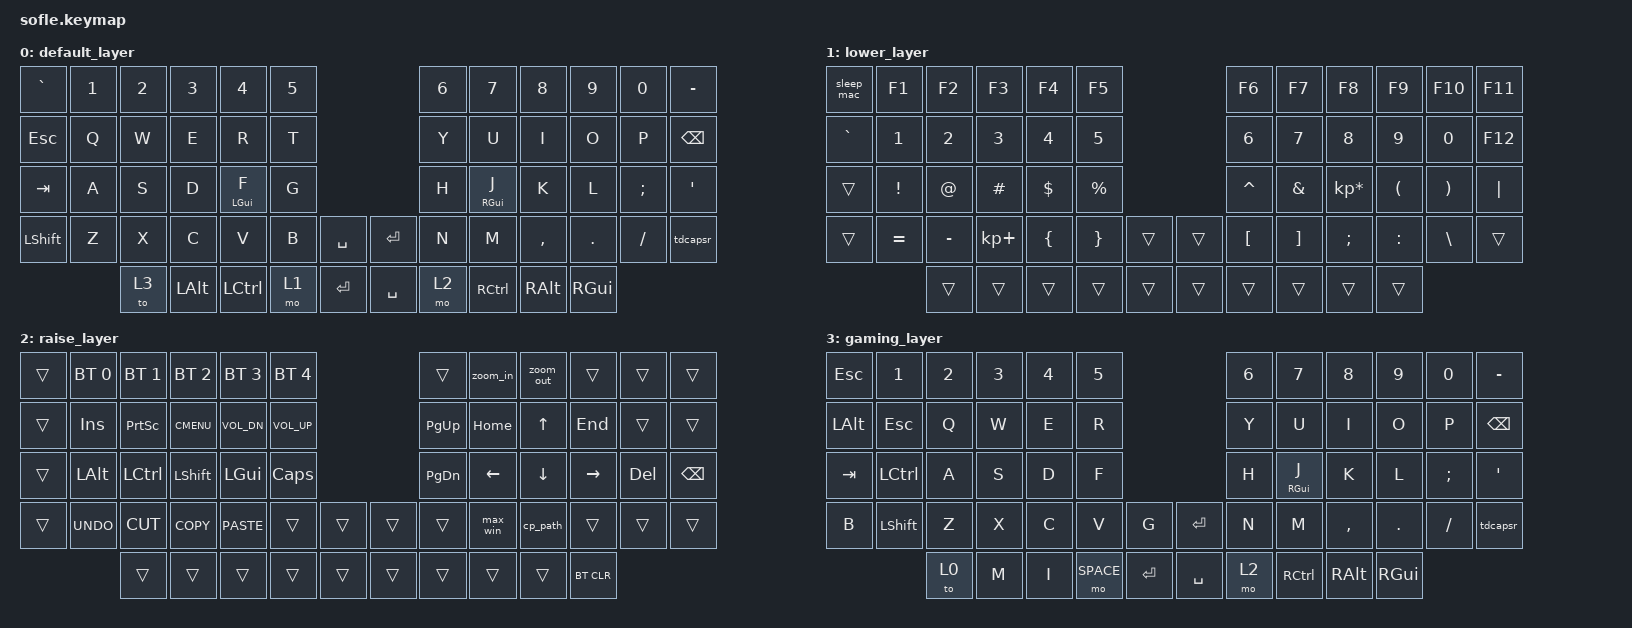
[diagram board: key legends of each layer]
/*
 * Copyright (c) 2020 The ZMK Contributors
 *
 * SPDX-License-Identifier: MIT
 */

#include <behaviors.dtsi>
#include <dt-bindings/zmk/keys.h>
#include <dt-bindings/zmk/bt.h>

/ {

    macros {
        sleep_mac: sleep_mac {
            label = "sleep_mac";
            compatible = "zmk,behavior-macro";
            #binding-cells = <0>;
            bindings
                = <&macro_press &kp LALT &kp LGUI &kp C_EJECT>
                , <&macro_release &kp LALT &kp LGUI &kp C_EJECT>
                ;
        };

        max_win: max_win {
            label = "max_win";
            compatible = "zmk,behavior-macro";
            #binding-cells = <0>;
            bindings
                = <&macro_press &kp LCTRL &kp LALT &kp LGUI &kp EQUAL>
                , <&macro_release &kp LCTRL &kp LALT &kp LGUI &kp EQUAL>
                ;
        };

        zoom_in: zoom_in {
            label = "zoom_in";
            compatible = "zmk,behavior-macro";
            #binding-cells = <0>;
            bindings
                = <&macro_press &kp LCTRL>
                , <&macro_tap &kp KP_PLUS>
                , <&macro_release &kp LCTRL>
                ;
        };

       zoom_out: zoom_out {
            label = "zoom_out";
            compatible = "zmk,behavior-macro";
            #binding-cells = <0>;
            bindings
                = <&macro_press &kp LCTRL>
                , <&macro_tap &kp MINUS>
                , <&macro_release &kp LCTRL>
                ;
        };

        cp_path: cp_path {
            label = "cp_path";
            compatible = "zmk,behavior-macro";
            #binding-cells = <0>;
            bindings
                = <&macro_press &kp LGUI &kp K>
                , <&macro_release &kp LGUI &kp K>
                , <&macro_press &kp LSHFT &kp LALT &kp LGUI &kp C>
                , <&macro_release &kp LSHFT &kp LALT &kp LGUI &kp C>
                ;
        };
    };

    behaviors {
        hm: homerow_mods {
            compatible = "zmk,behavior-hold-tap";
            label = "HOMEROW_MODS";
            #binding-cells = <2>;
            tapping-term-ms = <200>;
            quick-tap-ms = <0>;
            flavor = "tap-preferred";
            bindings = <&kp>, <&kp>;
        };

        tdcapsl: tap_dance_caps_l {
            compatible = "zmk,behavior-tap-dance";
            label = "TAP_DANCE_CAPS_L";
            #binding-cells = <0>;
            tapping-term-ms = <200>;
            bindings = <&kp LSHFT>, <&kp CAPS>;
        };

        tdcapsr: tap_dance_caps_r {
            compatible = "zmk,behavior-tap-dance";
            label = "TAP_DANCE_CAPS_R";
            #binding-cells = <0>;
            tapping-term-ms = <200>;
            bindings = <&kp RSHFT>, <&kp CAPS>;
        };
    };

    keymap {
        compatible = "zmk,keymap";

        default_layer {
// ------------------------------------------------------------------------------------------------------------
// |  `     |  1  |  2  |  3   |  4   |  5   |                   |  6   |  7    |  8    |  9   |   0   |     -     |
// |  ESC   |  Q  |  W  |  E   |  R   |  T   |                   |  Y   |  U    |  I    |  O   |   P   |   BKSPC   |
// |  TAB   |  A  |  S  |  D   |F CMD |  G   |                   |  H   | J CMD |  K    |  L   |   ;   |     '     |
// |  SHFT  |  Z  |  X  |  C   |  V   |  B   |  SPACE |  | ENTER |  N   |  M    |  ,    |  .   |   /   | SHFT/CAPS |
//                   | GME | ALT  | CTRL | LOWER|  ENTER |  | SPACE | RAISE| CTRL  | ALT   | GUI  |
            bindings = <
   &kp GRAVE  &kp N1     &kp N2      &kp N3       &kp N4      &kp N5                              &kp N6    &kp N7     &kp N8     &kp N9      &kp N0      &kp MINUS
   &kp ESC    &kp Q      &kp W       &kp E        &kp R       &kp T                               &kp Y     &kp U      &kp I      &kp O       &kp P       &kp BSPC
   &kp TAB    &kp A      &kp S       &kp D        &hm LGUI F  &kp G                               &kp H     &hm RGUI J &kp K      &kp L       &kp SEMI    &kp SQT
   &kp LSHFT   &kp Z      &kp X       &kp C        &kp V       &kp B    &kp SPACE     &kp RET      &kp N     &kp M      &kp COMMA  &kp DOT     &kp FSLH    &tdcapsr
                         &to 3       &kp LALT     &kp LCTRL   &mo 1    &kp RET       &kp SPACE    &mo 2     &kp RCTRL  &kp RALT   &kp RGUI
            >;

            // sensor-bindings = <&inc_dec_kp C_VOL_UP C_VOL_DN &inc_dec_kp PG_UP PG_DN>;
        };

        lower_layer {
// TODO: Some binds are waiting for shifted keycode support.
// ------------------------------------------------------------------------------------------------------------
// | SLEEP |  F1 |  F2 |  F3  |  F4  |  F5  |                   |  F6  |  F7   |  F8   |  F9  |  F10  |  F11  |
// | `     |   1 |   2 |   3  |   4  |   5  |                   |   6  |   7   |   8   |   9  |    0  |  F12  |
// |       |  !  |  @  |  #   |  $   |  %   |                   |  ^   |  &    |  *    |  (   |   )   |   |   |
// |       |  =  |  -  |  +   |  {   |  }   |        |  |       |  [   |  ]    |  ;    |  :   |   \   |       |
//               |     |      |      |      |        |  |       |      |       |       |      |
            bindings = <
&sleep_mac &kp F1    &kp F2    &kp F3      &kp F4    &kp F5                    &kp F6    &kp F7   &kp F8          &kp F9    &kp F10   &kp F11
&kp GRAVE  &kp N1    &kp N2    &kp N3      &kp N4    &kp N5                    &kp N6    &kp N7   &kp N8          &kp N9    &kp N0    &kp F12
&trans     &kp EXCL  &kp AT    &kp HASH    &kp DLLR  &kp PRCNT                 &kp CARET &kp AMPS &kp KP_MULTIPLY &kp LPAR  &kp RPAR  &kp PIPE
&trans     &kp EQUAL &kp MINUS &kp KP_PLUS &kp LBRC  &kp RBRC  &trans   &trans &kp LBKT  &kp RBKT &kp SEMI        &kp COLON &kp BSLH  &trans
                     &trans    &trans      &trans    &trans    &trans   &trans &trans    &trans   &trans          &trans
            >;

//            sensor-bindings = <&inc_dec_kp C_VOL_UP C_VOL_DN &inc_dec_kp PG_UP PG_DN>;
        };

        raise_layer {
// ------------------------------------------------------------------------------------------------------------
// |     | BT1  | BT2  |  BT3  |  BT4   |  BT5   |                |      | ZOOMIN | ZOOMOUT  |       |       |       |
// |     | INS  | PSCR | GUI   | VOL_DN | VOL_UP |                | PGUP | HOME   |    ^     | END   |       |       |
// |     | ALT  | CTRL | SHIFT | GUI    |  CAPS  |                | PGDN |   <-   |    v     |  ->   |  DEL  | BKSPC |
// |     | UNDO | CUT  | COPY  | PASTE  |        |      |  |      |      | MAXWIN |  CPPATH  |       |       |       |
//              |      |       |        |        |      |  |      |      |        |          | BTCLR |
            bindings = <
&trans   &bt BT_SEL 0 &bt BT_SEL 1 &bt BT_SEL 2 &bt BT_SEL 3   &bt BT_SEL 4             &trans    &zoom_in   &zoom_out  &trans    &trans  &trans
&trans   &kp INS      &kp PSCRN    &kp K_CMENU  &kp C_VOL_DN   &kp C_VOL_UP             &kp PG_UP &kp HOME   &kp UP     &kp END   &trans  &trans
&trans   &kp LALT     &kp LCTRL    &kp LSHFT    &kp LGUI       &kp CLCK                 &kp PG_DN &kp LEFT   &kp DOWN   &kp RIGHT &kp DEL &kp BSPC
&trans   &kp K_UNDO   &kp K_CUT    &kp K_COPY   &kp K_PASTE    &trans  &trans   &trans  &trans    &max_win   &cp_path   &trans    &trans  &trans
                      &trans       &trans       &trans         &trans  &trans   &trans  &trans    &trans     &trans     &bt BT_CLR
            >;

//            sensor-bindings = <&inc_dec_kp C_VOL_UP C_VOL_DN &inc_dec_kp PG_UP PG_DN>;
        };

        gaming_layer {
// ------------------------------------------------------------------------------------------------------------
// | ESC |  1      |   2   |  3  |  4   |   5   |                  |  6   |  7    |  8    |  9   |   0   |     -     |
// | ALT |  ESC    |   Q   |  W  |  E   |   R   |                  |  Y   |  U    |  I    |  O   |   P   |   BKSPC   |
// | TAB |  LCTRL  |   A   |  S  |  D   |   F   |                  |  H   | J CMD |  K    |  L   |   ;   |     '     |
// |  B  |  SHFT   |   Z   |  X  |  C   |   V   |   G   |  | ENTER |  N   |  M    |  ,    |  .   |   /   | SHFT/CAPS |
//                 | DFALT | ALT |  I   | SPACE | ENTER |  | SPACE | RAISE| CTRL  | ALT   | GUI  |
            bindings = <
   &kp ESC  &kp N1     &kp N2    &kp N3   &kp N4    &kp N5                              &kp N6    &kp N7     &kp N8     &kp N9      &kp N0      &kp MINUS
   &kp LALT &kp ESC    &kp Q     &kp W    &kp E     &kp R                               &kp Y     &kp U      &kp I      &kp O       &kp P       &kp BSPC
   &kp TAB  &kp LCTRL  &kp A     &kp S    &kp D     &kp F                               &kp H     &hm RGUI J &kp K      &kp L       &kp SEMI    &kp SQT
   &kp B    &kp LSHFT  &kp Z     &kp X    &kp C     &kp V      &kp G       &kp RET      &kp N     &kp M      &kp COMMA  &kp DOT     &kp FSLH    &tdcapsr
                       &to 0     &kp M    &kp I     &mo SPACE  &kp RET     &kp SPACE    &mo 2     &kp RCTRL  &kp RALT   &kp RGUI
            >;
        };
    };
};
